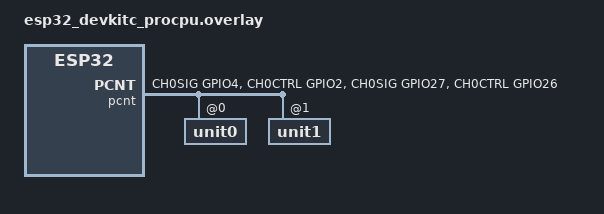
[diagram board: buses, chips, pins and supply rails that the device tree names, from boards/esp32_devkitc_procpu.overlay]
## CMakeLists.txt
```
# SPDX-License-Identifier: Apache-2.0

cmake_minimum_required(VERSION 3.28.0)
find_package(Zephyr REQUIRED HINTS $ENV{ZEPHYR_BASE})
project(pcnt_multi)

file(GLOB app_sources src/*.c)
target_sources(app PRIVATE ${app_sources})
```

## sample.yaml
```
sample:
  description: Multi-unit quadrature decoder sample (Read-and-Decode API)
  name: qdec_multi
tests:
  sample.sensor.qdec_multi:
    build_only: true
    tags:
      - samples
      - sensor
    platform_allow:
      - esp32_devkitc/esp32/procpu
      - esp32s2_saola
      - esp32s3_devkitc/esp32s3/procpu
      - esp32c5_devkitc/esp32c5/hpcore
      - esp32c6_devkitc/esp32c6/hpcore
      - esp32h2_devkitm/esp32h2
      - esp32p4_function_ev_board/esp32p4/hpcore
    depends_on: pinctrl
```

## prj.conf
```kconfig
CONFIG_SENSOR=y
CONFIG_SENSOR_ASYNC_API=y
CONFIG_RTIO=y
CONFIG_RTIO_WORKQ=y
CONFIG_PRINTK=y
```

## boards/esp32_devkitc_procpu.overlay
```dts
/*
 * SPDX-License-Identifier: Apache-2.0
 *
 * Copyright (c) 2026 Espressif Systems (Shanghai) Co., Ltd.
 */

/ {
	aliases {
		qdec0 = &pcnt;
	};
};

&pinctrl {
	pcnt_default: pcnt_default {
		group1 {
			pinmux = <PCNT0_CH0SIG_GPIO4>,
				 <PCNT0_CH0CTRL_GPIO2>,
				 <PCNT1_CH0SIG_GPIO27>,
				 <PCNT1_CH0CTRL_GPIO26>;
			bias-pull-up;
		};
	};
};

&pcnt {
	pinctrl-0 = <&pcnt_default>;
	pinctrl-names = "default";
	#address-cells = <1>;
	#size-cells = <0>;
	status = "okay";

	unit0@0 {
		reg = <0>;
		#address-cells = <1>;
		#size-cells = <0>;
		filter = <100>;
		counts-per-revolution = <400>;

		channelA@0 {
			reg = <0>;
			sig-pos-mode = <1>;
			sig-neg-mode = <0>;
			ctrl-h-mode = <0>;
			ctrl-l-mode = <0>;
		};
	};

	unit1@1 {
		reg = <1>;
		#address-cells = <1>;
		#size-cells = <0>;
		filter = <100>;
		counts-per-revolution = <400>;

		channelA@0 {
			reg = <0>;
			sig-pos-mode = <1>;
			sig-neg-mode = <0>;
			ctrl-h-mode = <0>;
			ctrl-l-mode = <0>;
		};
	};
};
```

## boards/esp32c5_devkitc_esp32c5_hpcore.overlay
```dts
/*
 * SPDX-License-Identifier: Apache-2.0
 *
 * Copyright (c) 2026 Espressif Systems (Shanghai) Co., Ltd.
 */

/ {
	aliases {
		qdec0 = &pcnt;
	};
};

&pinctrl {
	pcnt_default: pcnt_default {
		group1 {
			pinmux = <PCNT0_CH0SIG_GPIO1>,
				 <PCNT0_CH0CTRL_GPIO9>,
				 <PCNT1_CH0SIG_GPIO13>,
				 <PCNT1_CH0CTRL_GPIO14>;
			bias-pull-up;
		};
	};
};

&pcnt {
	pinctrl-0 = <&pcnt_default>;
	pinctrl-names = "default";
	status = "okay";
	#address-cells = <1>;
	#size-cells = <0>;

	unit0@0 {
		reg = <0>;
		#address-cells = <1>;
		#size-cells = <0>;
		filter = <100>;
		counts-per-revolution = <400>;

		channelA@0 {
			reg = <0>;
			sig-pos-mode = <1>;
			sig-neg-mode = <0>;
			ctrl-h-mode = <0>;
			ctrl-l-mode = <0>;
		};
	};

	unit1@1 {
		reg = <1>;
		#address-cells = <1>;
		#size-cells = <0>;
		filter = <100>;
		counts-per-revolution = <400>;

		channelA@0 {
			reg = <0>;
			sig-pos-mode = <1>;
			sig-neg-mode = <0>;
			ctrl-h-mode = <0>;
			ctrl-l-mode = <0>;
		};
	};
};
```

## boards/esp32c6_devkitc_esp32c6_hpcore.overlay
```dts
/*
 * SPDX-License-Identifier: Apache-2.0
 *
 * Copyright (c) 2026 Espressif Systems (Shanghai) Co., Ltd.
 */

/ {
	aliases {
		qdec0 = &pcnt;
	};
};

&pinctrl {
	pcnt_default: pcnt_default {
		group1 {
			pinmux = <PCNT0_CH0SIG_GPIO1>,
				 <PCNT0_CH0CTRL_GPIO15>,
				 <PCNT1_CH0SIG_GPIO3>,
				 <PCNT1_CH0CTRL_GPIO4>;
			bias-pull-up;
		};
	};
};

&pcnt {
	pinctrl-0 = <&pcnt_default>;
	pinctrl-names = "default";
	#address-cells = <1>;
	#size-cells = <0>;
	status = "okay";

	unit0@0 {
		reg = <0>;
		#address-cells = <1>;
		#size-cells = <0>;
		filter = <100>;
		counts-per-revolution = <400>;

		channelA@0 {
			reg = <0>;
			sig-pos-mode = <1>;
			sig-neg-mode = <0>;
			ctrl-h-mode = <0>;
			ctrl-l-mode = <0>;
		};
	};

	unit1@1 {
		reg = <1>;
		#address-cells = <1>;
		#size-cells = <0>;
		filter = <100>;
		counts-per-revolution = <400>;

		channelA@0 {
			reg = <0>;
			sig-pos-mode = <1>;
			sig-neg-mode = <0>;
			ctrl-h-mode = <0>;
			ctrl-l-mode = <0>;
		};
	};
};
```

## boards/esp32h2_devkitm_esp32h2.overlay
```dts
/*
 * SPDX-License-Identifier: Apache-2.0
 *
 * Copyright (c) 2026 Espressif Systems (Shanghai) Co., Ltd.
 *
 * H2 PCNT input matrix only reaches GPIOs 0-5, 8-14, 22-27.
 */

/ {
	aliases {
		qdec0 = &pcnt;
	};
};

&pinctrl {
	pcnt_default: pcnt_default {
		group1 {
			pinmux = <PCNT0_CH0SIG_GPIO0>,
				 <PCNT0_CH0CTRL_GPIO4>,
				 <PCNT1_CH0SIG_GPIO1>,
				 <PCNT1_CH0CTRL_GPIO5>;
			bias-pull-up;
		};
	};
};

&pcnt {
	pinctrl-0 = <&pcnt_default>;
	pinctrl-names = "default";
	#address-cells = <1>;
	#size-cells = <0>;
	status = "okay";

	unit0@0 {
		reg = <0>;
		#address-cells = <1>;
		#size-cells = <0>;
		filter = <100>;
		counts-per-revolution = <400>;

		channelA@0 {
			reg = <0>;
			sig-pos-mode = <1>;
			sig-neg-mode = <0>;
			ctrl-h-mode = <0>;
			ctrl-l-mode = <0>;
		};
	};

	unit1@1 {
		reg = <1>;
		#address-cells = <1>;
		#size-cells = <0>;
		filter = <100>;
		counts-per-revolution = <400>;

		channelA@0 {
			reg = <0>;
			sig-pos-mode = <1>;
			sig-neg-mode = <0>;
			ctrl-h-mode = <0>;
			ctrl-l-mode = <0>;
		};
	};
};
```

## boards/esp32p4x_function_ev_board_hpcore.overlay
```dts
/*
 * SPDX-License-Identifier: Apache-2.0
 *
 * Copyright (c) 2026 Espressif Systems (Shanghai) Co., Ltd.
 */

/ {
	aliases {
		qdec0 = &pcnt;
	};
};

&pinctrl {
	pcnt_default: pcnt_default {
		group1 {
			pinmux = <PCNT0_CH0SIG_GPIO10>,
				 <PCNT0_CH0CTRL_GPIO11>,
				 <PCNT1_CH0SIG_GPIO12>,
				 <PCNT1_CH0CTRL_GPIO13>;
			bias-pull-up;
		};
	};
};

&pcnt {
	pinctrl-0 = <&pcnt_default>;
	pinctrl-names = "default";
	status = "okay";
	#address-cells = <1>;
	#size-cells = <0>;

	unit0@0 {
		reg = <0>;
		#address-cells = <1>;
		#size-cells = <0>;
		filter = <100>;
		counts-per-revolution = <400>;

		channelA@0 {
			reg = <0>;
			sig-pos-mode = <1>;
			sig-neg-mode = <0>;
			ctrl-h-mode = <0>;
			ctrl-l-mode = <0>;
		};
	};

	unit1@1 {
		reg = <1>;
		#address-cells = <1>;
		#size-cells = <0>;
		filter = <100>;
		counts-per-revolution = <400>;

		channelA@0 {
			reg = <0>;
			sig-pos-mode = <1>;
			sig-neg-mode = <0>;
			ctrl-h-mode = <0>;
			ctrl-l-mode = <0>;
		};
	};
};
```

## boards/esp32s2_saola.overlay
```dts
/*
 * SPDX-License-Identifier: Apache-2.0
 *
 * Copyright (c) 2026 Espressif Systems (Shanghai) Co., Ltd.
 */

/ {
	aliases {
		qdec0 = &pcnt;
	};
};

&pinctrl {
	pcnt_default: pcnt_default {
		group1 {
			pinmux = <PCNT0_CH0SIG_GPIO1>,
				 <PCNT0_CH0CTRL_GPIO2>,
				 <PCNT1_CH0SIG_GPIO14>,
				 <PCNT1_CH0CTRL_GPIO15>;
			bias-pull-up;
		};
	};
};

&pcnt {
	pinctrl-0 = <&pcnt_default>;
	pinctrl-names = "default";
	#address-cells = <1>;
	#size-cells = <0>;
	status = "okay";

	unit0@0 {
		reg = <0>;
		#address-cells = <1>;
		#size-cells = <0>;
		filter = <100>;
		counts-per-revolution = <400>;

		channelA@0 {
			reg = <0>;
			sig-pos-mode = <1>;
			sig-neg-mode = <0>;
			ctrl-h-mode = <0>;
			ctrl-l-mode = <0>;
		};
	};

	unit1@1 {
		reg = <1>;
		#address-cells = <1>;
		#size-cells = <0>;
		filter = <100>;
		counts-per-revolution = <400>;

		channelA@0 {
			reg = <0>;
			sig-pos-mode = <1>;
			sig-neg-mode = <0>;
			ctrl-h-mode = <0>;
			ctrl-l-mode = <0>;
		};
	};
};
```

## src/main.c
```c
/*
 * Copyright (c) 2026 Espressif Systems (Shanghai) Co., Ltd.
 *
 * SPDX-License-Identifier: Apache-2.0
 *
 * Multi-unit quadrature decoder sample using the Read-and-Decode API.
 *
 * This sample targets any quadrature decoder whose driver exposes
 * multiple counting units as child nodes (``unit@N``) of a single
 * devicetree node, each keyed by its ``reg`` value. The Read-and-Decode
 * API threads the unit index through ``sensor_chan_spec.chan_idx`` so
 * each unit can be read from the same sensor device.
 *
 * The devicetree is expected to provide a ``qdec0`` alias pointing to
 * that parent node.
 */

#include <stdio.h>
#include <zephyr/kernel.h>
#include <zephyr/device.h>
#include <zephyr/drivers/sensor.h>
#include <zephyr/rtio/rtio.h>

#define QDEC_NODE DT_ALIAS(qdec0)

BUILD_ASSERT(DT_NODE_EXISTS(QDEC_NODE), "Board overlay must provide a 'qdec0' alias pointing to a "
					"multi-unit quadrature decoder device.");

#define QDEC_UNIT_CHAN(node_id)                                                                    \
	{.chan_type = SENSOR_CHAN_ROTATION, .chan_idx = DT_REG_ADDR(node_id)},

SENSOR_DT_READ_IODEV(qdec_iodev, QDEC_NODE, DT_FOREACH_CHILD(QDEC_NODE, QDEC_UNIT_CHAN));

RTIO_DEFINE_WITH_MEMPOOL(qdec_rtio, 4, 4, 4, 256, sizeof(void *));

/* clang-format off */
static const uint8_t unit_indices[] = {
	DT_FOREACH_CHILD_SEP(QDEC_NODE, DT_REG_ADDR, (,))
};
/* clang-format on */

int main(void)
{
	const struct device *dev = DEVICE_DT_GET(QDEC_NODE);
	const struct sensor_decoder_api *decoder;
	uint8_t buf[256];
	int rc;

	if (!device_is_ready(dev)) {
		printf("qdec device not ready\n");
		return 0;
	}
	if (sensor_get_decoder(dev, &decoder) != 0) {
		printf("decoder unavailable (driver lacks .get_decoder?)\n");
		return 0;
	}

	printf("qdec multi-unit sample: %zu units\n", ARRAY_SIZE(unit_indices));

	while (1) {
		k_msleep(1000);

		rc = sensor_read(&qdec_iodev, &qdec_rtio, buf, sizeof(buf));
		if (rc != 0) {
			printf("sensor_read: %d\n", rc);
			continue;
		}

		for (size_t i = 0; i < ARRAY_SIZE(unit_indices); i++) {
			struct sensor_chan_spec spec = {
				.chan_type = SENSOR_CHAN_ROTATION,
				.chan_idx = unit_indices[i],
			};
			struct sensor_q31_data data = {0};
			uint32_t fit = 0;

			rc = decoder->decode(buf, spec, &fit, 1, &data);
			if (rc < 1) {
				continue;
			}
			printf("unit %u: q31=%d shift=%d\n", unit_indices[i],
			       (int)data.readings[0].value, data.shift);
		}
	}
	return 0;
}
```
